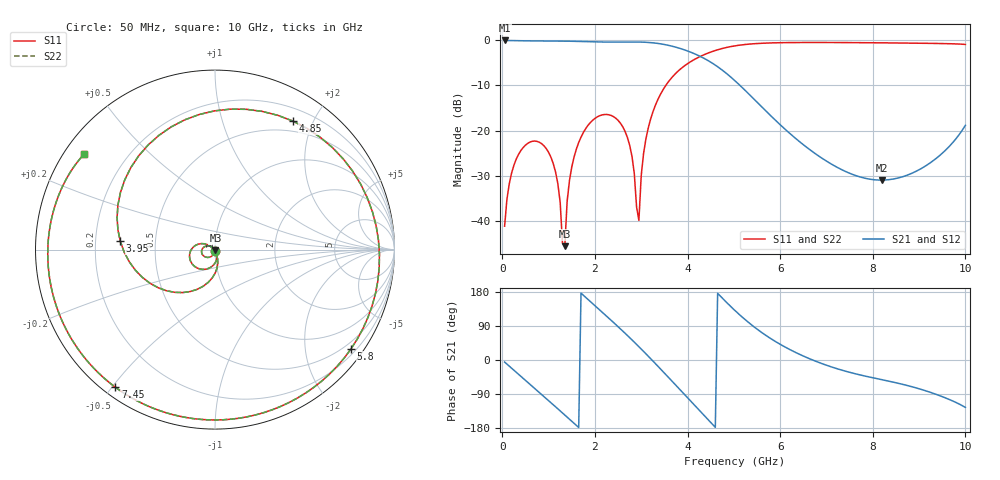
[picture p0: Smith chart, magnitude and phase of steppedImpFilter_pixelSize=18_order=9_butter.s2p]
! freq	dB(S11)	phase(S11)	dB(S12)	phase(S12)
!  dB(S21)	phase(S21)	dB(S22)	phase(S22)
!S-par simulation data
#  GHz  S  DB  R 50
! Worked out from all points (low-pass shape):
!   200 points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, 50 MHz to 10 GHz, reference 50 ohm
!   highest |S21| = -0.01 dB at 50 MHz (marker M1); lowest = -31.0 dB at 8.2 GHz (marker M2)
!   |S21| within 3 dB of the highest: start of sweep to 4.161 GHz
!   lowest |S11| = -45.7 dB at 1.35 GHz (marker M3), VSWR 1.01, Z = 50.3 - j0.449 ohm
!   |S11| at or under -10 dB: start of sweep to 3.531 GHz
!   |S22| runs from -45.7 to -0.5 dB; largest |S21 - S12| = 0
!   S11 on the Smith chart (normalised r, x): 50 MHz: 1.00, -0.02; 3.95 GHz: 0.31, +0.04; 4.85 GHz: 0.36, +1.72; 5.8 GHz: 0.33, -3.03; 7.45 GHz: 0.03, -0.51; 10 GHz: 0.06, +0.32
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0.05  -41.24 -94.5  -0.01 -5.5  -0.01 -5.5  -41.24 -94.5
0.3  -26.37 -122.2  -0.05 -32.3  -0.05 -32.3  -26.37 -122.2
0.75  -22.42 -171.5  -0.12 -80.4  -0.12 -80.4  -22.42 -171.5
1.15  -29.20 145.6  -0.14 -123.5  -0.14 -123.5  -29.20 145.6
1.35  -45.68 -59.3  -0.16 -145.2  -0.16 -145.2  -45.68 -59.2
1.45  -31.14 -67.8  -0.17 -156.2  -0.17 -156.2  -31.14 -67.7
1.75  -20.45 -100.2  -0.25 170.9  -0.25 170.9  -20.45 -100.1
2.6  -19.16 167.3  -0.36 76.5  -0.36 76.5  -19.16 167.3
2.8  -25.71 147.3  -0.34 53.2  -0.34 53.2  -25.71 147.3
2.95  -39.95 -90.4  -0.36 35.1  -0.36 35.1  -39.94 -90.5
3.1  -21.93 -78.9  -0.41 16.6  -0.41 16.6  -21.93 -78.9
3.4  -12.28 -114.3  -0.73 -21.5  -0.73 -21.5  -12.28 -114.3
3.95  -5.52 175.0  -2.16 -93.0  -2.16 -93.0  -5.52 175.0
4.4  -2.98 116.1  -4.22 -151.8  -4.22 -151.8  -2.98 116.1
4.85  -1.54 58.8  -7.41 151.1  -7.41 151.1  -1.54 58.8
5.05  -1.16 35.3  -9.20 127.6  -9.20 127.6  -1.16 35.3
5.8  -0.55 -36.2  -16.75 56.2  -16.75 56.2  -0.55 -36.2
6.7  -0.45 -92.4  -24.71 0.0  -24.71 0.0  -0.45 -92.4
7.45  -0.48 -125.9  -29.27 -30.9  -29.27 -30.9  -0.48 -125.9
8.2  -0.53 -153.5  -31.01 -52.0  -31.01 -52.0  -0.53 -153.5
8.35  -0.55 -158.6  -30.91 -55.9  -30.91 -55.9  -0.55 -158.6
10  -0.89 143.9  -18.85 -125.1  -18.85 -125.1  -0.89 143.9
